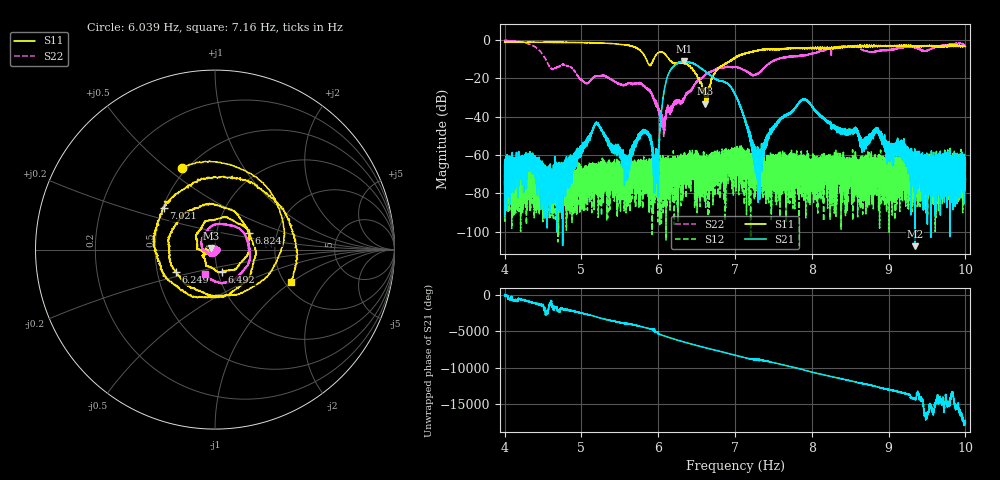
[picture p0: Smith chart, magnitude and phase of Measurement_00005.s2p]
!Created with skrf (http://scikit-rf.org).
# Hz S RI R 50.0
!freq ReS11 ImS11 ReS21 ImS21 ReS12 ImS12 ReS22 ImS22
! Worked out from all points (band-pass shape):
!   14001 points, 4 Hz to 10 Hz, reference 50 ohm
!   highest |S21| = -10.82 dB at 6.338 Hz (marker M1); lowest = -107.6 dB at 9.344 Hz (marker M2)
!   |S21| within 3 dB of the highest: 6.197 Hz to 6.528 Hz (330.3 mHz wide, 5.19 % of centre); 6.528561 Hz to 6.52859 Hz (28.44 uHz wide, 0.000436 % of centre)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
!   lowest |S11| = -33.2 dB at 6.612 Hz (marker M3), VSWR 1.04, Z = 48 + j0.768 ohm
!   |S11| at or under -10 dB: 5.845 Hz to 5.94 Hz (95.28 mHz wide, 1.62 % of centre); 6.142 Hz to 6.963 Hz (821.1 mHz wide, 12.5 % of centre); 6.963706 Hz to 6.965767 Hz (2.061 mHz wide, 0.0296 % of centre)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
!   |S22| runs from -50.7 to -0.2 dB; largest |S21 - S12| = 0.29
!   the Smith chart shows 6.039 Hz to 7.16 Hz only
!   S11 on the Smith chart (normalised r, x): 6.039 Hz: 0.47, +0.56; 6.249 Hz: 0.62, -0.17; 6.492 Hz: 1.05, -0.26; 6.824 Hz: 1.44, +0.28; 7.021 Hz: 0.51, +0.27; 7.16 Hz: 2.15, -0.98
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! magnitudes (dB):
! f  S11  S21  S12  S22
! 4 Hz  -1.1  -91.7  -76.1  -0.3
! 4.65 Hz  -1.2  -71.9  -81.5  -14.9
! 5 Hz  -1.3  -57.3  -73.5  -20.7
! 5.2 Hz  -1.4  -43.8  -69.5  -18.8
! 5.579 Hz  -2.5  -73.3  -68.6  -23.5
! 5.81 Hz  -7.5  -48.4  -64.9  -23.8
! 6 Hz  -6.6  -80.0  -65.8  -35.1
! 6.039 Hz  -6.2  -38.8  -66.1  -39.5
! 6.249 Hz  -12.0  -12.2  -87.3  -32.1
! 6.338 Hz  -11.8  -10.8  -62.4  -30.7
! 6.492 Hz  -17.7  -12.9  -63.3  -22.2
! 6.612 Hz  -33.2  -16.3  -70.3  -18.2
! 6.824 Hz  -13.5  -21.4  -63.3  -14.5
! 7 Hz  -9.3  -28.3  -58.8  -14.0
! 7.021 Hz  -8.7  -29.9  -63.9  -14.0
! 7.16 Hz  -6.8  -44.9  -70.3  -16.6
! 7.306 Hz  -5.4  -58.5  -69.5  -17.2
! 7.589 Hz  -4.5  -41.5  -68.9  -9.6
! 8 Hz  -4.3  -34.2  -76.2  -6.9
! 9 Hz  -3.2  -55.7  -66.2  -5.1
! 9.344 Hz  -3.1  -107.6  -69.2  -3.8
! 10 Hz  -3.4  -65.8  -72.2  -3.1
